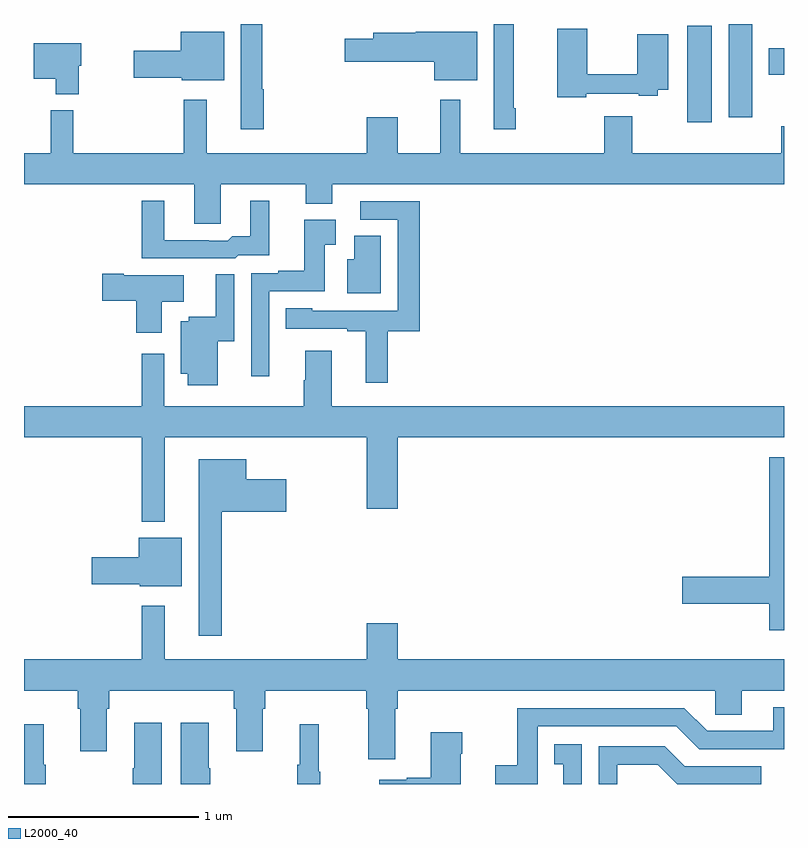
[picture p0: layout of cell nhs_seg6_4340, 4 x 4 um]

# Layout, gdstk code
import gdstk
lib = gdstk.Library(unit=1e-6, precision=1e-09)
def R(c, l, rs):  # rectangles x0, y0, x1, y1
    for r in rs: c.add(gdstk.rectangle(r[:2], r[2:], *l))
def P(c, l, *ps):  # polygons
    for p in ps: c.add(gdstk.Polygon(p, *l))
L2000_40 = (2000, 40)

nhs_seg6_4340 = lib.new_cell('nhs_seg6_4340')
R(nhs_seg6_4340, L2000_40, [(370.49,960.984,370.621,961.492), (370.709,961.008,370.834,961.5), (370.919,961.232,371,961.372)])
P(nhs_seg6_4340, L2000_40, [(368.263,961.157),(368.255,961.157),(368.255,961.5),(368.141,961.5),(368.141,960.945),(368.263,960.945)],
  [(369.587,961.057),(369.577,961.057),(369.577,961.5),(369.473,961.5),(369.473,960.945),(369.587,960.945)],
  [(369.96,961.134),(370.235,961.134),(370.235,961.122),(370.335,961.122),(370.335,961.154),(370.39,961.154),(370.39,961.447),(370.228,961.447),(370.228,961.235),(369.964,961.235),(369.964,961.474),(369.806,961.474),(369.806,961.114),(369.96,961.114)],
  [(369.385,961.459),(369.062,961.459),(369.062,961.453),(368.837,961.453),(368.837,961.423),(368.688,961.423),(368.688,961.301),(369.158,961.301),(369.158,961.205),(369.385,961.205)],
  [(368.053,961.459),(367.826,961.459),(367.826,961.358),(367.578,961.358),(367.578,961.216),(367.83,961.216),(367.83,961.205),(368.053,961.205)],
  [(367.288,961.281),(367.3,961.281),(367.3,961.399),(367.052,961.399),(367.052,961.211),(367.166,961.211),(367.166,961.13),(367.288,961.13)],
  [(368.035,960.656),(368.483,960.656),(368.483,960.554),(368.623,960.554),(368.623,960.656),(371,960.656),(371,960.961),(370.985,960.961),(370.985,960.82),(370.201,960.82),(370.201,961.015),(370.054,961.015),(370.054,960.82),(369.295,960.82),(369.295,961.102),(369.191,961.102),(369.191,960.82),(368.968,960.82),(368.968,961.009),(368.804,961.009),(368.804,960.82),(367.963,960.82),(367.963,961.102),(367.842,961.102),(367.842,960.82),(367.259,960.82),(367.259,961.045),(367.142,961.045),(367.142,960.82),(367,960.82),(367,960.656),(367.895,960.656),(367.895,960.448),(368.035,960.448)],
  [(368.127,960.282),(368.291,960.282),(368.291,960.571),(368.192,960.571),(368.192,960.383),(368.096,960.383),(368.073,960.36),(367.973,960.36),(367.973,960.363),(367.738,960.363),(367.738,960.571),(367.621,960.571),(367.621,960.267),(368.112,960.267)],
  [(368.915,959.883),(369.083,959.883),(369.083,960.567),(368.769,960.567),(368.769,960.471),(368.967,960.471),(368.967,959.991),(368.517,959.991),(368.517,960.004),(368.377,960.004),(368.377,959.895),(368.702,959.895),(368.702,959.883),(368.798,959.883),(368.798,959.613),(368.915,959.613)],
  [(368.292,960.093),(368.584,960.093),(368.584,960.337),(368.641,960.337),(368.641,960.469),(368.474,960.469),(368.474,960.202),(368.339,960.202),(368.339,960.189),(368.196,960.189),(368.196,959.646),(368.292,959.646)],
  [(368.878,960.386),(368.738,960.386),(368.738,960.262),(368.702,960.262),(368.702,960.083),(368.878,960.083)],
  [(367.726,960.038),(367.84,960.038),(367.84,960.178),(367.525,960.178),(367.525,960.186),(367.413,960.186),(367.413,960.044),(367.592,960.044),(367.592,959.874),(367.726,959.874)],
  [(368.02,959.83),(368.106,959.83),(368.106,960.182),(368.009,960.182),(368.009,959.958),(367.866,959.958),(367.866,959.935),(367.826,959.935),(367.826,959.66),(367.862,959.66),(367.862,959.598),(368.02,959.598)],
  [(367.741,959.324),(368.804,959.324),(368.804,958.95),(368.968,958.95),(368.968,959.324),(371,959.324),(371,959.488),(368.62,959.488),(368.62,959.779),(368.48,959.779),(368.48,959.625),(368.473,959.625),(368.473,959.488),(367.737,959.488),(367.737,959.764),(367.621,959.764),(367.621,959.488),(367,959.488),(367,959.324),(367.62,959.324),(367.62,958.88),(367.741,958.88)],
  [(371,959.221),(370.922,959.221),(370.922,958.592),(370.464,958.592),(370.464,958.45),(370.922,958.45),(370.922,958.31),(371,958.31)],
  [(368.041,958.934),(368.38,958.934),(368.38,959.104),(368.17,959.104),(368.17,959.209),(367.919,959.209),(367.919,958.281),(368.041,958.281)],
  [(367.831,958.795),(367.604,958.795),(367.604,958.694),(367.356,958.694),(367.356,958.552),(367.608,958.552),(367.608,958.541),(367.831,958.541)],
  [(368.953,957.896),(368.966,957.896),(368.966,957.992),(370.638,957.992),(370.638,957.865),(370.777,957.865),(370.777,957.992),(371,957.992),(371,958.156),(368.968,958.156),(368.968,958.345),(368.804,958.345),(368.804,958.156),(367.741,958.156),(367.741,958.438),(367.62,958.438),(367.62,958.156),(367,958.156),(367,957.992),(367.283,957.992),(367.283,957.896),(367.295,957.896),(367.295,957.672),(367.435,957.672),(367.435,957.896),(367.448,957.896),(367.448,957.992),(368.105,957.992),(368.105,957.896),(368.117,957.896),(368.117,957.672),(368.257,957.672),(368.257,957.896),(368.27,957.896),(368.27,957.992),(368.801,957.992),(368.801,957.896),(368.813,957.896),(368.813,957.63),(368.953,957.63)],
  [(369.705,957.804),(370.434,957.804),(370.554,957.684),(371,957.684),(371,957.903),(370.943,957.903),(370.943,957.78),(370.596,957.78),(370.476,957.9),(369.597,957.9),(369.597,957.598),(369.479,957.598),(369.479,957.5),(369.705,957.5)],
  [(367.98,957.584),(367.972,957.584),(367.972,957.823),(367.826,957.823),(367.826,957.5),(367.98,957.5)],
  [(367.726,957.823),(367.58,957.823),(367.58,957.584),(367.573,957.584),(367.573,957.5),(367.726,957.5)],
  [(368.56,957.564),(368.552,957.564),(368.552,957.814),(368.45,957.814),(368.45,957.601),(368.439,957.601),(368.439,957.5),(368.56,957.5)],
  [(367.114,957.601),(367.103,957.601),(367.103,957.814),(367,957.814),(367,957.5),(367.114,957.5)],
  [(369.298,957.659),(369.306,957.659),(369.306,957.772),(369.14,957.772),(369.14,957.533),(369.014,957.533),(369.014,957.523),(368.871,957.523),(368.871,957.5),(369.298,957.5)],
  [(369.936,957.709),(369.79,957.709),(369.79,957.603),(369.839,957.603),(369.839,957.5),(369.936,957.5)],
  [(370.122,957.602),(370.336,957.602),(370.438,957.5),(370.881,957.5),(370.881,957.594),(370.477,957.594),(370.372,957.699),(370.026,957.699),(370.026,957.5),(370.122,957.5)])

lib.write_gds('nhs_seg6_4340.gds')
